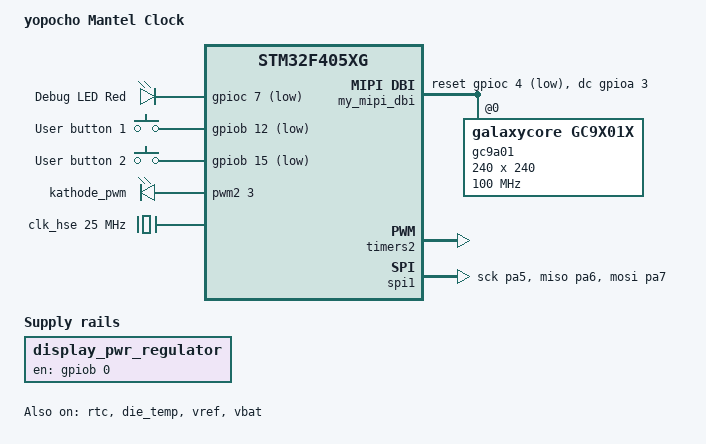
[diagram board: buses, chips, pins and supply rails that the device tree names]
/*
 * Copyright (c) 2025
 *
 * SPDX-License-Identifier: Apache-2.0
 */

/dts-v1/;
#include <st/f4/stm32f405Xg.dtsi>
#include <st/f4/stm32f405rgtx-pinctrl.dtsi>
#include <zephyr/dt-bindings/input/input-event-codes.h>
#include <zephyr/dt-bindings/mipi_dbi/mipi_dbi.h>
#include <zephyr/dt-bindings/display/panel.h>
#include <zephyr/dt-bindings/lvgl/lvgl.h>

/ {
	model = "yopocho Mantel Clock";
	compatible = "yopocho,mantelclock";

	chosen {
		zephyr,console = &usart2;
		zephyr,shell-uart = &usart2;
		zephyr,sram = &sram0;
		zephyr,flash = &flash0;
		// zephyr,flash-controller = &flash0;
		zephyr,dtcm = &ccm0;
		zephyr,display = &gc9a01;
	};

	leds {
		compatible = "gpio-leds";

		red_led: led_0 {
			gpios = <&gpioc 7 GPIO_ACTIVE_LOW>;
			label = "Debug LED Red";
		};
	};

	keys: keys {
		compatible = "gpio-keys";
		status = "okay";
		debounce-interval-ms = <30>;

		user_button_1: button_1 {
			label = "User button 1";
			gpios = <&gpiob 12 GPIO_ACTIVE_LOW>;
			zephyr,code = <INPUT_KEY_0>;
		};

        user_button_2: button_2 {
			label = "User button 2";
			gpios = <&gpiob 15 GPIO_ACTIVE_LOW>;
			zephyr,code = <INPUT_KEY_1>;
		};
	};

	lvgl_keypad_input {
		compatible = "zephyr,lvgl-keypad-input";
		input = <&keys>;
		input-codes = <INPUT_KEY_0 INPUT_KEY_1>;
		lvgl-codes = <LV_KEY_UP LV_KEY_NEXT>;
	};

	pwmleds {
		compatible = "pwm-leds";
		status = "okay";

		kathode_pwm: kathode_pwm {
			pwms = <&pwm2 3 PWM_USEC(20) PWM_POLARITY_NORMAL>;
		};
	};

	display_pwr_regulator: display_pwr_regulator {
		compatible = "regulator-fixed";
		status = "okay";
		regulator-name = "display-pwr-regulator";
		enable-gpios = <&gpiob 0 GPIO_ACTIVE_HIGH>;
		regulator-boot-on;
		startup-delay-us = <100000>;
		off-on-delay-us = <100000>; 
	};

	aliases {
		led0 = &red_led;
		kathodepwm = &kathode_pwm;
		gc9a01 = &gc9a01;
		sw0 = &user_button_1;
        sw1 = &user_button_2;
		die-temp0 = &die_temp;
		volt-sensor0 = &vref;
		volt-sensor1 = &vbat;
		rtc = &rtc;
	};

	my_mipi_dbi {
		compatible = "zephyr,mipi-dbi-spi";
		status = "okay";
		#address-cells = <1>;
		#size-cells = <0>;
		spi-dev = <&spi1>;
		dc-gpios = <&gpioa 3 GPIO_ACTIVE_HIGH>;
		reset-gpios = <&gpioc 4 GPIO_ACTIVE_LOW>;
		
		gc9a01: gc9a01@0 {
			compatible = "galaxycore,gc9x01x";
			reg = <0>;
			mipi-max-frequency = <DT_FREQ_M(100)>;
			pixel-format = <PANEL_PIXEL_FORMAT_RGB_565>;
			width = <240>;
			height = <240>;
			display-inversion;
		};
	};
};

&clk_lse {
	// compatible = "st,stm32-lse-clock"; //does this need adding?
	// clock-frequency = <32768>;
	status = "okay";
};

&clk_hse {
	clock-frequency = <DT_FREQ_M(25)>;
	status = "okay";
};

&pll {
	div-m = <15>;											// PLL input divider
	mul-n = <144>;											// PLL multiplier
	div-p = <2>;											// PLL output divider for main system clock
	div-q = <5>;		
	clocks = <&clk_hse>;
	status = "okay";
};

&rcc { //This might be wrong smh # ChatGPT
	clocks = <&pll>;
	clock-frequency = <DT_FREQ_M(120)>;
	ahb-prescaler = <1>;									// Division on AHB bus
	apb1-prescaler = <4>;									// Divide APB1 clock by 4 (max 50 MHz for STM32F4)
	apb2-prescaler = <2>;									// Division on APB2
};

&usart2 {
	status = "disabled";
};

&timers2 {
	// st,prescaler = <100>;
	status = "okay";

	pwm2: pwm {
		status = "okay";
		pinctrl-0 = <&tim2_ch3_pa2>;
		pinctrl-names = "default";
		
	};
};

&rtc {
	clocks = <&rcc STM32_CLOCK_BUS_APB1 0x10000000>,
		 	 <&rcc STM32_SRC_LSE RTC_SEL(1)>; // Is this correct?
	status = "okay";

	backup_regs {
		status = "okay";
	};
};

&die_temp {
	status = "okay";
};

&vref {
	status = "okay";
};

&vbat {
	status = "okay";
};

&dma1 {
	status = "okay";
};

&spi1 {
	pinctrl-0 = <&spi1_sck_pa5 &spi1_miso_pa6 &spi1_mosi_pa7>; // &spi1_nss_pa4 &spi1_sck_pa5 &spi1_miso_pa6 &spi1_mosi_pa7
	pinctrl-names = "default";
	cs-gpios = <&gpioa 4 GPIO_ACTIVE_LOW>;
	status = "okay";
};

&flash0 {
	status = "okay";
	partitions {
		compatible = "fixed-partitions";
		#address-cells = <1>;
		#size-cells = <1>;

		user_storage: partition@e0000 {
			label = "storage";
			reg = <0x000E0000 0x0000050>;
		};
	};
};
